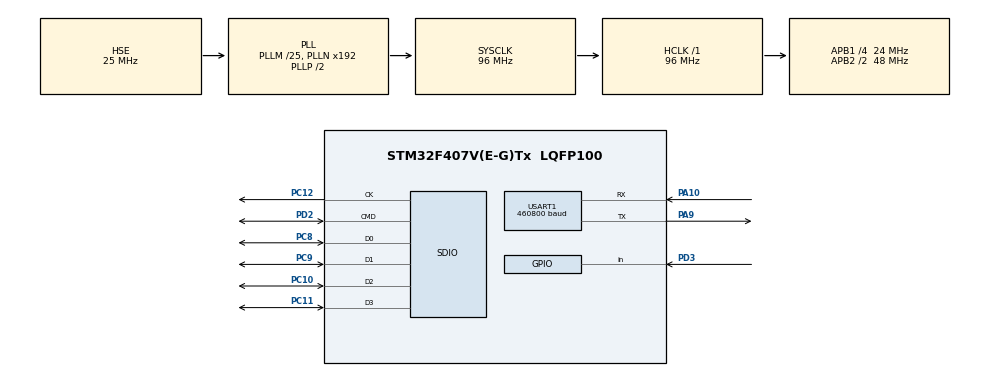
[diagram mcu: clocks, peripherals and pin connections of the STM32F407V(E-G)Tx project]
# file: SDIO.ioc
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Dma.Request0=SDIO_RX
Dma.Request1=SDIO_TX
Dma.SDIO_RX.0.Direction=DMA_PERIPH_TO_MEMORY
Dma.SDIO_RX.0.FIFOMode=DMA_FIFOMODE_ENABLE
Dma.SDIO_RX.0.FIFOThreshold=DMA_FIFO_THRESHOLD_FULL
Dma.SDIO_RX.0.Instance=DMA2_Stream3
Dma.SDIO_RX.0.MemBurst=DMA_MBURST_INC4
Dma.SDIO_RX.0.MemDataAlignment=DMA_MDATAALIGN_WORD
Dma.SDIO_RX.0.MemInc=DMA_MINC_ENABLE
Dma.SDIO_RX.0.Mode=DMA_PFCTRL
Dma.SDIO_RX.0.PeriphBurst=DMA_PBURST_INC4
Dma.SDIO_RX.0.PeriphDataAlignment=DMA_PDATAALIGN_WORD
Dma.SDIO_RX.0.PeriphInc=DMA_PINC_DISABLE
Dma.SDIO_RX.0.Priority=DMA_PRIORITY_HIGH
Dma.SDIO_TX.1.Direction=DMA_MEMORY_TO_PERIPH
Dma.SDIO_TX.1.FIFOMode=DMA_FIFOMODE_ENABLE
Dma.SDIO_TX.1.FIFOThreshold=DMA_FIFO_THRESHOLD_FULL
Dma.SDIO_TX.1.Instance=DMA2_Stream6
Dma.SDIO_TX.1.MemBurst=DMA_MBURST_INC4
Dma.SDIO_TX.1.MemDataAlignment=DMA_MDATAALIGN_WORD
Dma.SDIO_TX.1.MemInc=DMA_MINC_ENABLE
Dma.SDIO_TX.1.Mode=DMA_PFCTRL
Dma.SDIO_TX.1.PeriphBurst=DMA_PBURST_INC4
Dma.SDIO_TX.1.PeriphDataAlignment=DMA_PDATAALIGN_WORD
Dma.SDIO_TX.1.PeriphInc=DMA_PINC_DISABLE
Dma.SDIO_TX.1.Priority=DMA_PRIORITY_VERY_HIGH
FATFS.BSP.number=1
FATFS.USE_DMA_CODE_SD=1
FATFS._CODE_PAGE=936
FATFS._FS_EXFAT=0
FATFS._FS_LOCK=1
FATFS._MAX_SS=4096
FATFS._USE_LABEL=1
FATFS._USE_LFN=3
FATFS0.BSP.STBoard=false
FATFS0.BSP.api=Unknown
FATFS0.BSP.instance=PD3
FATFS0.BSP.ip=GPIO
FATFS0.BSP.mode=Input
FATFS0.BSP.name=Detect_SDIO
FATFS0.BSP.solution=PD3
Mcu.Family=STM32F4
Mcu.Name=STM32F407V(E-G)Tx
Mcu.Package=LQFP100
NVIC.DMA2_Stream3_IRQn=true\:6\:0\:true\:false\:true\:false\:true\:true
NVIC.DMA2_Stream6_IRQn=true\:4\:0\:true\:false\:true\:false\:true\:true
NVIC.PriorityGroup=NVIC_PRIORITYGROUP_4
NVIC.SDIO_IRQn=true\:5\:0\:true\:false\:true\:true\:true\:true
NVIC.TIM1_UP_TIM10_IRQn=true\:15\:0\:false\:false\:true\:false\:true\:true
NVIC.TimeBase=TIM1_UP_TIM10_IRQn
NVIC.TimeBaseIP=TIM1
PA10.Mode=Asynchronous
PA10.Signal=USART1_RX
PA13.Mode=Serial_Wire
PA13.Signal=SYS_JTMS-SWDIO
PA14.Mode=Serial_Wire
PA14.Signal=SYS_JTCK-SWCLK
PA9.Mode=Asynchronous
PA9.Signal=USART1_TX
PC10.GPIO_PuPd=GPIO_PULLUP
PC10.Mode=SD_4_bits_Wide_bus
PC10.Signal=SDIO_D2
PC11.GPIO_PuPd=GPIO_PULLUP
PC11.Mode=SD_4_bits_Wide_bus
PC11.Signal=SDIO_D3
PC12.GPIO_PuPd=GPIO_PULLUP
PC12.Mode=SD_4_bits_Wide_bus
PC12.Signal=SDIO_CK
PC14-OSC32_IN.Mode=LSE-External-Oscillator
PC14-OSC32_IN.Signal=RCC_OSC32_IN
PC15-OSC32_OUT.Mode=LSE-External-Oscillator
PC15-OSC32_OUT.Signal=RCC_OSC32_OUT
PC8.GPIO_PuPd=GPIO_PULLUP
PC8.Mode=SD_4_bits_Wide_bus
PC8.Signal=SDIO_D0
PC9.GPIO_PuPd=GPIO_PULLUP
PC9.Mode=SD_4_bits_Wide_bus
PC9.Signal=SDIO_D1
PD2.GPIO_PuPd=GPIO_PULLUP
PD2.Mode=SD_4_bits_Wide_bus
PD2.Signal=SDIO_CMD
PD3.Signal=GPIO_Input
PH0-OSC_IN.Mode=HSE-External-Oscillator
PH0-OSC_IN.Signal=RCC_OSC_IN
PH1-OSC_OUT.Mode=HSE-External-Oscillator
PH1-OSC_OUT.Signal=RCC_OSC_OUT
ProjectManager.HeapSize=0x1000
ProjectManager.StackSize=0x1000
ProjectManager.TargetToolchain=EWARM V8.50
RCC.48MHZClocksFreq_Value=48000000
RCC.AHBFreq_Value=96000000
RCC.APB1CLKDivider=RCC_HCLK_DIV4
RCC.APB1Freq_Value=24000000
RCC.APB1TimFreq_Value=48000000
RCC.APB2CLKDivider=RCC_HCLK_DIV2
RCC.APB2Freq_Value=48000000
RCC.APB2TimFreq_Value=96000000
RCC.CortexFreq_Value=96000000
RCC.HCLKFreq_Value=96000000
RCC.HSE_VALUE=25000000
RCC.HSI_VALUE=16000000
RCC.PLLM=25
RCC.PLLSourceVirtual=RCC_PLLSOURCE_HSE
RCC.SYSCLKFreq_VALUE=96000000
RCC.SYSCLKSource=RCC_SYSCLKSOURCE_PLLCLK
RCC.VCOOutputFreq_Value=192000000
SDIO.ClockDiv=0
USART1.BaudRate=460800
USART1.VirtualMode=VM_ASYNC
VP_FATFS_VS_SDIO.Mode=SDIO
VP_SYS_VS_tim1.Mode=TIM1
board=custom

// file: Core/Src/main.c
/* USER CODE BEGIN Header */
/**
  ******************************************************************************
  * @file           : main.c
  * @brief          : Main program body
  ******************************************************************************
  * @attention
  *
  * Copyright (c) 2024 STMicroelectronics.
  * All rights reserved.
  *
  * This software is licensed under terms that can be found in the LICENSE file
  * in the root directory of this software component.
  * If no LICENSE file comes with this software, it is provided AS-IS.
  *
  ******************************************************************************
  */
/* USER CODE END Header */
#include "main.h"
#include "dma.h"
#include "fatfs.h"
#include "sdio.h"
#include "usart.h"
#include "gpio.h"

/* USER CODE BEGIN Includes */
#include "stdio.h"
#include "string.h"
#include "stm32f4xx_hal.h"
/* USER CODE END Includes */

void SystemClock_Config(void);
/* USER CODE BEGIN PFP */
FIL MyFile;       /* 文件对象 */
char data[] = "Hello, this is a test data.\r\n";
BYTE work[4096] __attribute__((aligned(4096)));  // 强制对齐

/* USER CODE END PFP */

/* USER CODE BEGIN 0 */

int fputc(int ch, FILE *f) {
    HAL_UART_Transmit(&huart1, (uint8_t *)&ch, 1, HAL_MAX_DELAY);
    return ch;
}

/* USER CODE END 0 */

int main(void)
{

  /* MCU Configuration--------------------------------------------------------*/

  /* Reset of all peripherals, Initializes the Flash interface and the Systick. */
  HAL_Init();

  /* Configure the system clock */
  SystemClock_Config();

  /* Initialize all configured peripherals */
  MX_GPIO_Init();
  MX_DMA_Init();
  MX_SDIO_SD_Init();
  MX_USART1_UART_Init();
  MX_FATFS_Init();
  /* USER CODE BEGIN 2 */
  setvbuf(stdout, NULL, _IONBF, 0);

    /* 挂载文件系统 */
    FRESULT res;
    const TCHAR* SDPath = "0:";  // SD 卡路径
    res = f_mount(&SDFatFS, SDPath, 1);
    if (res != FR_OK)
    {
        printf("f_mount error: %d\n", res);
        if (res == FR_NO_FILESYSTEM)
        {
            printf("No filesystem, trying to format...\n");
            // 格式化 SD 卡
            res = f_mkfs(SDPath, FM_EXFAT, 0, work, sizeof(work));
            if (res == FR_OK)
            {
                printf("Format success, trying to mount again...\n");
                res = f_mount(&SDFatFS, SDPath, 1);
                if (res == FR_OK)
                {
                    printf("Mount success after format\n");
                }
                else
                {
                    printf("Mount failed after format, error: %d\n", res);
                    while(1);
                }
            }
            else
            {
                printf("Format failed, error: %d\n", res);
                while(1);
            }
        }
        else
        {
            while(1);
        }
    }
    else
    {
        printf("Mount success\n");
    }

    /* 打开文件进行写入 */
    res = f_open(&MyFile, "0:/data.txt", FA_READ | FA_WRITE | FA_CREATE_ALWAYS);
    if (res == FR_OK)
    {
        UINT byteswritten;

        /* 将 data 数组重复写入文件 100 次 */
        for (int i = 0; i < 10; i++)
        {
            /* 写入数据 */
            res = f_write(&MyFile, data, strlen(data), &byteswritten);
            if ((res == FR_OK) && (byteswritten == strlen(data)))
            {
                printf("Data written successfully (%d/100)\n", i + 1);
            }
            else
            {
                printf("Failed to write data at iteration %d, error: %d\n", i + 1, res);
                break;  // 发生错误，退出循环
            }
        }

        /* 关闭文件 */
        f_close(&MyFile);
    }
    else
    {
        printf("Failed to open file for writing, error: %d\n", res);
    }

    /* 读取文件内容 */
    res = f_open(&MyFile, "0:/data.txt", FA_READ);
    if (res == FR_OK)
    {
        char buffer[64];
        UINT bytesread;

        printf("File content:\n");
        do
        {
            res = f_read(&MyFile, buffer, sizeof(buffer)-1, &bytesread);
            if (res == FR_OK)
            {
                buffer[bytesread] = '\0';
                printf("%s", buffer);
            }
            else
            {
                printf("Failed to read file, error: %d\n", res);
                break;
            }
        } while (bytesread > 0);

        /* 关闭文件 */
        f_close(&MyFile);
    }
    else
    {
        printf("Failed to open file for reading, error: %d\n", res);
    }

  /* USER CODE END 2 */

  /* Infinite loop */
    while (1)
    {

    }
}

void SystemClock_Config(void)
{
  RCC_OscInitTypeDef RCC_OscInitStruct = {0};
  RCC_ClkInitTypeDef RCC_ClkInitStruct = {0};

  /** Configure the main internal regulator output voltage
  */
  __HAL_RCC_PWR_CLK_ENABLE();
  __HAL_PWR_VOLTAGESCALING_CONFIG(PWR_REGULATOR_VOLTAGE_SCALE1);

  /** Initializes the RCC Oscillators according to the specified parameters
  * in the RCC_OscInitTypeDef structure.
  */
  RCC_OscInitStruct.OscillatorType = RCC_OSCILLATORTYPE_HSE;
  RCC_OscInitStruct.HSEState = RCC_HSE_ON;
  RCC_OscInitStruct.PLL.PLLState = RCC_PLL_ON;
  RCC_OscInitStruct.PLL.PLLSource = RCC_PLLSOURCE_HSE;
  RCC_OscInitStruct.PLL.PLLM = 25;
  RCC_OscInitStruct.PLL.PLLN = 192;
  RCC_OscInitStruct.PLL.PLLP = RCC_PLLP_DIV2;
  RCC_OscInitStruct.PLL.PLLQ = 4;
  if (HAL_RCC_OscConfig(&RCC_OscInitStruct) != HAL_OK)
  {
    Error_Handler();
  }

  /** Initializes the CPU, AHB and APB buses clocks
  */
  RCC_ClkInitStruct.ClockType = RCC_CLOCKTYPE_HCLK|RCC_CLOCKTYPE_SYSCLK
                              |RCC_CLOCKTYPE_PCLK1|RCC_CLOCKTYPE_PCLK2;
  RCC_ClkInitStruct.SYSCLKSource = RCC_SYSCLKSOURCE_PLLCLK;
  RCC_ClkInitStruct.AHBCLKDivider = RCC_SYSCLK_DIV1;
  RCC_ClkInitStruct.APB1CLKDivider = RCC_HCLK_DIV4;
  RCC_ClkInitStruct.APB2CLKDivider = RCC_HCLK_DIV2;

  if (HAL_RCC_ClockConfig(&RCC_ClkInitStruct, FLASH_LATENCY_3) != HAL_OK)
  {
    Error_Handler();
  }
}

void HAL_TIM_PeriodElapsedCallback(TIM_HandleTypeDef *htim)
{
  if (htim->Instance == TIM1) {
    HAL_IncTick();
  }
}

void Error_Handler(void)
{
  __disable_irq();
  while (1)
  {
  }
}
